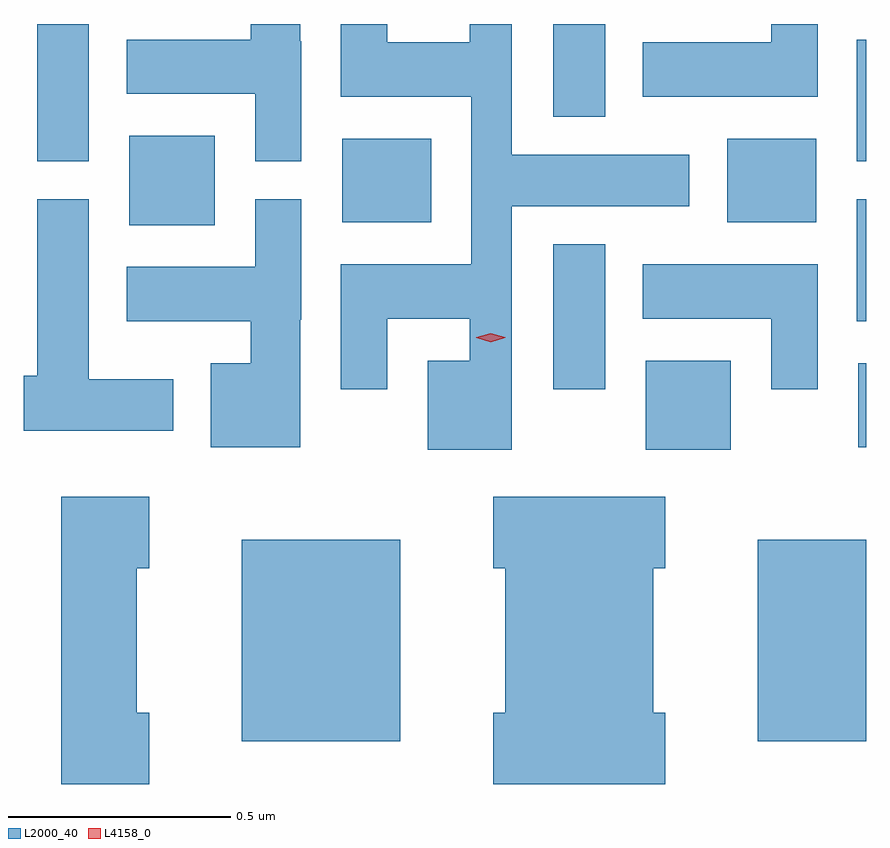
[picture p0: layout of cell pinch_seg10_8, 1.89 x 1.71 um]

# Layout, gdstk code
import gdstk
lib = gdstk.Library(unit=1e-6, precision=1e-09)
def R(c, l, rs):  # rectangles x0, y0, x1, y1
    for r in rs: c.add(gdstk.rectangle(r[:2], r[2:], *l))
def P(c, l, *ps):  # polygons
    for p in ps: c.add(gdstk.Polygon(p, *l))
L2000_40 = (2000, 40)
L4158_0 = (4158, 0)

pinch_seg10_8 = lib.new_cell('pinch_seg10_8')
R(pinch_seg10_8, L2000_40, [(1072.325,1291.676,1072.681,1292.128), (1073.483,1291.676,1073.726,1292.128), (1073.231,1292.33,1073.422,1292.53), (1073.708,1292.336,1073.726,1292.524), (1073.024,1292.466,1073.14,1292.791), (1073.705,1292.618,1073.726,1292.892), (1072.073,1292.834,1072.264,1293.034), (1072.55,1292.84,1072.75,1293.028), (1073.414,1292.84,1073.614,1293.028), (1071.866,1292.977,1071.982,1293.285), (1073.705,1292.977,1073.726,1293.25), (1073.024,1293.077,1073.14,1293.285)])
P(pinch_seg10_8, L2000_40, [(1072.931,1292.876),(1073.329,1292.876),(1073.329,1292.992),(1072.931,1292.992),(1072.931,1293.285),(1072.836,1293.285),(1072.836,1293.244),(1072.651,1293.244),(1072.651,1293.285),(1072.547,1293.285),(1072.547,1293.122),(1072.84,1293.122),(1072.84,1292.746),(1072.547,1292.746),(1072.547,1292.466),(1072.651,1292.466),(1072.651,1292.624),(1072.836,1292.624),(1072.836,1292.53),(1072.742,1292.53),(1072.742,1292.33),(1072.931,1292.33)],
  [(1072.459,1293.246),(1072.456,1293.246),(1072.456,1293.285),(1072.345,1293.285),(1072.345,1293.25),(1072.067,1293.25),(1072.067,1293.128),(1072.355,1293.128),(1072.355,1292.977),(1072.459,1292.977)],
  [(1073.617,1293.285),(1073.513,1293.285),(1073.513,1293.244),(1073.225,1293.244),(1073.225,1293.122),(1073.617,1293.122)],
  [(1072.171,1292.488),(1071.982,1292.488),(1071.982,1292.892),(1071.866,1292.892),(1071.866,1292.496),(1071.836,1292.496),(1071.836,1292.372),(1072.171,1292.372)],
  [(1072.456,1292.622),(1072.459,1292.622),(1072.459,1292.892),(1072.355,1292.892),(1072.355,1292.74),(1072.067,1292.74),(1072.067,1292.618),(1072.345,1292.618),(1072.345,1292.524),(1072.256,1292.524),(1072.256,1292.336),(1072.456,1292.336)],
  [(1073.617,1292.746),(1073.225,1292.746),(1073.225,1292.624),(1073.513,1292.624),(1073.513,1292.466),(1073.617,1292.466)],
  [(1073.275,1291.74),(1073.248,1291.74),(1073.248,1292.064),(1073.275,1292.064),(1073.275,1292.224),(1072.889,1292.224),(1072.889,1292.064),(1072.916,1292.064),(1072.916,1291.74),(1072.889,1291.74),(1072.889,1291.58),(1073.275,1291.58)],
  [(1072.117,1291.74),(1072.09,1291.74),(1072.09,1292.064),(1072.117,1292.064),(1072.117,1292.224),(1071.92,1292.224),(1071.92,1291.58),(1072.117,1291.58)])
P(pinch_seg10_8, L4158_0, [(1072.884,1292.571),(1072.851,1292.581),(1072.851,1292.581),(1072.851,1292.582),(1072.884,1292.591),(1072.916,1292.582),(1072.916,1292.581),(1072.916,1292.581)])

lib.write_gds('pinch_seg10_8.gds')
